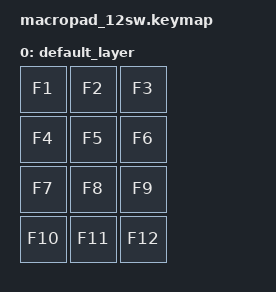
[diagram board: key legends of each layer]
#include <behaviors.dtsi>
#include <dt-bindings/zmk/keys.h>

/ {
    keymap {
        compatible = "zmk,keymap";

        default_layer {
            bindings = <
                &kp F1  &kp F2  &kp F3
                &kp F4  &kp F5  &kp F6
                &kp F7  &kp F8  &kp F9
                &kp F10 &kp F11 &kp F12
            >;

        };
    };
};

&led_strip {
    chain-length = <13>;
};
